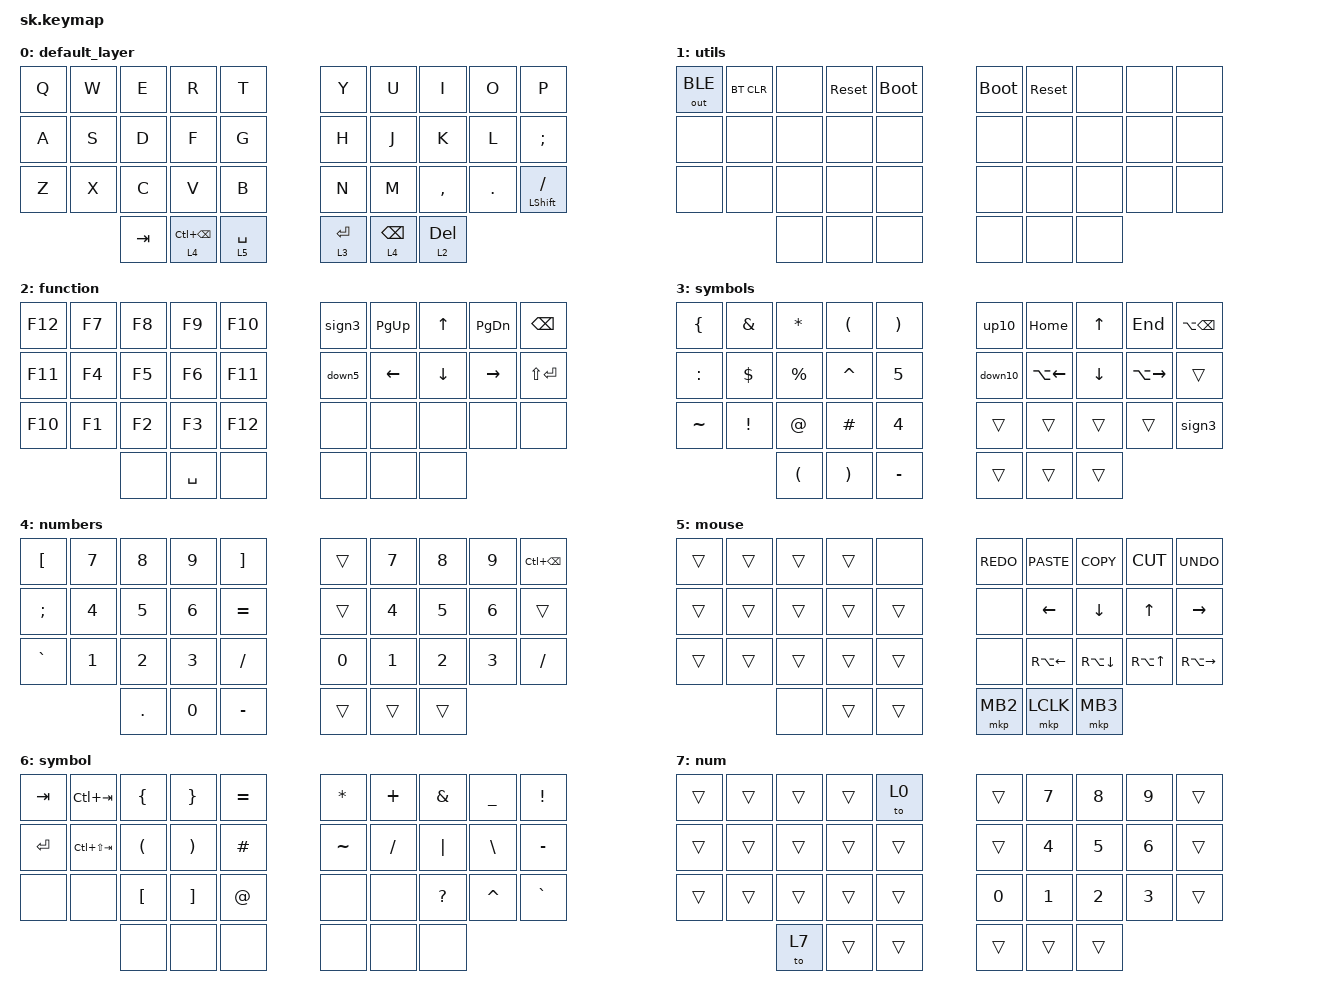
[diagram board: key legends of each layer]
/*
 * Copyright (c) 2020 The ZMK Contributors
 *
 * SPDX-License-Identifier: MIT
 */

#include <behaviors.dtsi>
#include <dt-bindings/zmk/bt.h>
#include <dt-bindings/zmk/keys.h>
#include <dt-bindings/zmk/mouse.h>
#include <dt-bindings/zmk/outputs.h>

/ {
    combos {
        compatible = "zmk,combos";

        utils_layer_l {
            bindings = <&mo 1>;
            key-positions = <20 21 22 23>;
        };

        utils_layer_r {
            bindings = <&mo 1>;
            key-positions = <26 27 28 29>;
        };

        spotlight {
            bindings = <&kp LG(SPACE)>;
            key-positions = <13 16>;
        };
    };

    macros {
        sign3: up5 {
            compatible = "zmk,behavior-macro";
            #binding-cells = <0>;
            bindings = <&kp RA(S) &kp RA(A) &kp RA(E)>;
            label = "UP5";
        };

        down5: down5 {
            compatible = "zmk,behavior-macro";
            #binding-cells = <0>;
            bindings = <&kp DOWN_ARROW &kp DOWN_ARROW &kp DOWN_ARROW &kp DOWN_ARROW &kp DOWN_ARROW>;
            label = "DOWN5";
        };

        up10: up10 {
            compatible = "zmk,behavior-macro";
            #binding-cells = <0>;
            bindings = <&kp UP_ARROW &kp UP_ARROW &kp UP_ARROW &kp UP_ARROW &kp UP_ARROW &kp UP_ARROW &kp UP_ARROW &kp UP_ARROW &kp UP_ARROW &kp UP_ARROW>;
            label = "UP10";
        };

        down10: down10 {
            compatible = "zmk,behavior-macro";
            #binding-cells = <0>;
            bindings = <&kp DOWN_ARROW &kp DOWN_ARROW &kp DOWN_ARROW &kp DOWN_ARROW &kp DOWN_ARROW &kp DOWN_ARROW &kp DOWN_ARROW &kp DOWN_ARROW &kp DOWN_ARROW &kp DOWN_ARROW>;
            label = "DOWN10";
        };
    };

    keymap {
        compatible = "zmk,keymap";

        default_layer {
            bindings = <
&kp Q  &kp W  &kp E    &kp R                &kp T        &kp Y        &kp U            &kp I         &kp O    &kp P
&kp A  &kp S  &kp D    &kp F                &kp G        &kp H        &kp J            &kp K         &kp L    &kp SEMI
&kp Z  &kp X  &kp C    &kp V                &kp B        &kp N        &kp M            &kp COMMA     &kp DOT  &mt LEFT_SHIFT FSLH
              &kp TAB  &lt 4 LC(BACKSPACE)  &lt 5 SPACE  &lt 3 ENTER  &lt 4 BACKSPACE  &lt 2 DELETE
            >;
        };

        utils {
            bindings = <
&out OUT_BLE  &bt BT_CLR  &none  &sys_reset  &bootloader  &bootloader  &sys_reset  &none  &none  &none
&none         &none       &none  &none       &none        &none        &none       &none  &none  &none
&none         &none       &none  &none       &none        &none        &none       &none  &none  &none
                          &none  &none       &none        &none        &none       &none
            >;
        };

        function {
            bindings = <
&kp F12  &kp F7  &kp F8  &kp F9     &kp F10  &sign3  &kp PG_UP  &kp UP_ARROW  &kp PG_DN  &kp BACKSPACE
&kp F11  &kp F4  &kp F5  &kp F6     &kp F11  &down5  &kp LEFT   &kp DOWN      &kp RIGHT  &kp LS(RETURN)
&kp F10  &kp F1  &kp F2  &kp F3     &kp F12  &none   &none      &none         &none      &none
                 &none   &kp SPACE  &none    &none   &none      &none
            >;
        };

        symbols {
            bindings = <
&kp LEFT_BRACE  &kp AMPERSAND    &kp ASTERISK          &kp LEFT_PARENTHESIS   &kp RIGHT_PARENTHESIS  &up10    &kp HOME      &kp UP    &kp END        &kp LA(BSPC)
&kp COLON       &kp DOLLAR       &kp PERCENT           &kp CARET              &kp N5                 &down10  &kp LA(LEFT)  &kp DOWN  &kp LA(RIGHT)  &trans
&kp TILDE       &kp EXCLAMATION  &kp AT_SIGN           &kp HASH               &kp N4                 &trans   &trans        &trans    &trans         &sign3
                                 &kp LEFT_PARENTHESIS  &kp RIGHT_PARENTHESIS  &kp MINUS              &trans   &trans        &trans
            >;
        };

        numbers {
            bindings = <
&kp LBKT   &kp N7  &kp N8   &kp N9  &kp RBKT   &trans  &kp N7  &kp N8  &kp N9  &kp LC(BSPC)
&kp SEMI   &kp N4  &kp N5   &kp N6  &kp EQUAL  &trans  &kp N4  &kp N5  &kp N6  &trans
&kp GRAVE  &kp N1  &kp N2   &kp N3  &kp FSLH   &kp N0  &kp N1  &kp N2  &kp N3  &kp FSLH
                   &kp DOT  &kp N0  &kp MINUS  &trans  &trans  &trans
            >;
        };

        mouse {
            bindings = <
&trans  &trans  &trans  &trans  &none   &kp K_REDO  &kp K_PASTE     &kp K_COPY    &kp K_CUT         &kp K_UNDO
&trans  &trans  &trans  &trans  &trans  &none       &kp LEFT_ARROW  &kp DOWN      &kp UP_ARROW      &kp RIGHT
&trans  &trans  &trans  &trans  &trans  &none       &kp RA(LEFT)    &kp RA(DOWN)  &kp RA(UP_ARROW)  &kp RA(RIGHT)
                &none   &trans  &trans  &mkp MB2    &mkp LCLK       &mkp MB3
            >;
        };

        symbol {
            bindings = <
&kp TAB  &kp LC(TAB)      &kp LEFT_BRACE        &kp RIGHT_BRACE        &kp EQUAL  &kp ASTRK  &kp PLUS   &kp AMPS      &kp UNDER      &kp EXCLAMATION
&kp RET  &kp LC(LS(TAB))  &kp LEFT_PARENTHESIS  &kp RIGHT_PARENTHESIS  &kp POUND  &kp TILDE  &kp SLASH  &kp PIPE      &kp BACKSLASH  &kp MINUS
&none    &none            &kp LEFT_BRACKET      &kp RIGHT_BRACKET      &kp AT     &none      &none      &kp QUESTION  &kp CARET      &kp GRAVE
                          &none                 &none                  &none      &none      &none      &none
            >;
        };

        num {
            bindings = <
&trans  &trans  &trans  &trans  &to 0   &trans  &kp N7        &kp NUMBER_8  &kp N9        &trans
&trans  &trans  &trans  &trans  &trans  &trans  &kp NUMBER_4  &kp N5        &kp NUMBER_6  &trans
&trans  &trans  &trans  &trans  &trans  &kp N0  &kp NUMBER_1  &kp NUMBER_2  &kp NUMBER_3  &trans
                &to 7   &trans  &trans  &trans  &trans        &trans
            >;
        };
    };
};
